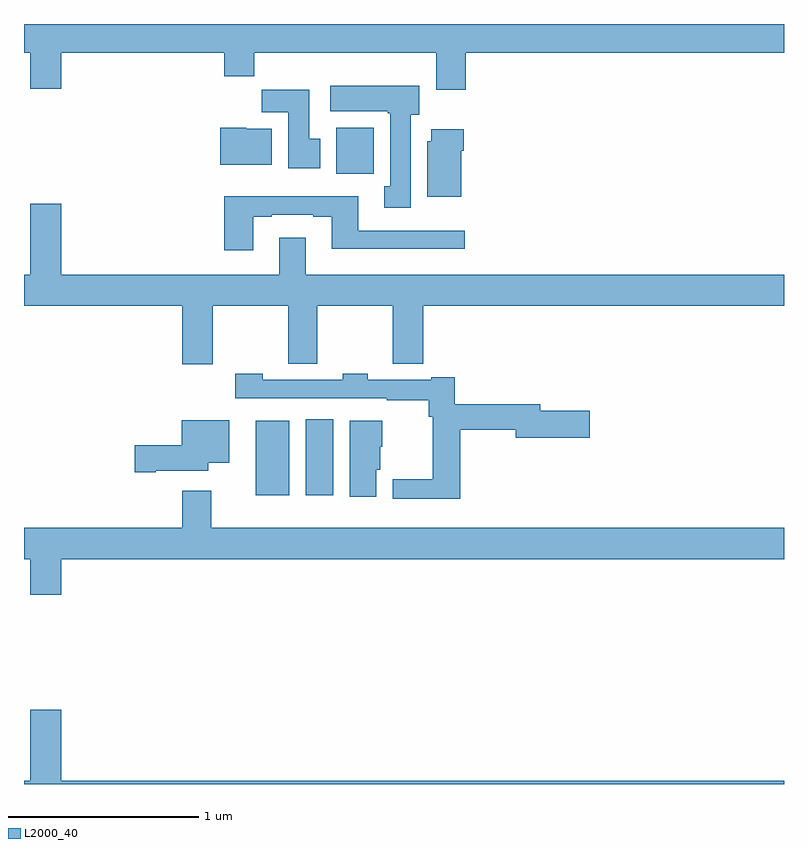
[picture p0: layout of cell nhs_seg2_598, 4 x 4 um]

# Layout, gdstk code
import gdstk
lib = gdstk.Library(unit=1e-6, precision=1e-09)
def R(c, l, rs):  # rectangles x0, y0, x1, y1
    for r in rs: c.add(gdstk.rectangle(r[:2], r[2:], *l))
def P(c, l, *ps):  # polygons
    for p in ps: c.add(gdstk.Polygon(p, *l))
L2000_40 = (2000, 40)

nhs_seg2_598 = lib.new_cell('nhs_seg2_598')
R(nhs_seg2_598, L2000_40, [(142.22,633.32,142.396,633.712), (142.484,633.32,142.627,633.721), (142.643,635.012,142.84,635.254)])
P(nhs_seg2_598, L2000_40, [(143.324,635.648),(145,635.648),(145,635.8),(141,635.8),(141,635.648),(141.032,635.648),(141.032,635.46),(141.196,635.46),(141.196,635.648),(142.055,635.648),(142.055,635.524),(142.211,635.524),(142.211,635.648),(143.171,635.648),(143.171,635.454),(143.324,635.454)],
  [(143.035,635.322),(143.08,635.322),(143.08,635.476),(142.611,635.476),(142.611,635.342),(142.915,635.342),(142.915,635.329),(142.928,635.329),(142.928,634.946),(142.895,634.946),(142.895,634.833),(143.035,634.833)],
  [(142.558,635.196),(142.501,635.196),(142.501,635.455),(142.252,635.455),(142.252,635.336),(142.391,635.336),(142.391,635.04),(142.558,635.04)],
  [(142.303,635.248),(142.17,635.248),(142.17,635.254),(142.034,635.254),(142.034,635.06),(142.303,635.06)],
  [(143.302,635.132),(143.315,635.132),(143.315,635.245),(143.144,635.245),(143.144,635.184),(143.123,635.184),(143.123,634.892),(143.302,634.892)],
  [(142.207,634.785),(142.303,634.785),(142.303,634.797),(142.523,634.797),(142.523,634.785),(142.619,634.785),(142.619,634.616),(143.32,634.616),(143.32,634.713),(142.759,634.713),(142.759,634.894),(142.055,634.894),(142.055,634.608),(142.207,634.608)],
  [(141.993,634.316),(142.39,634.316),(142.39,634.012),(142.544,634.012),(142.544,634.316),(142.942,634.316),(142.942,634.012),(143.102,634.012),(143.102,634.316),(145,634.316),(145,634.48),(142.483,634.48),(142.483,634.675),(142.343,634.675),(142.343,634.48),(141.196,634.48),(141.196,634.855),(141.032,634.855),(141.032,634.48),(141,634.48),(141,634.316),(141.833,634.316),(141.833,634.008),(141.993,634.008)],
  [(143.297,633.664),(143.588,633.664),(143.588,633.622),(143.977,633.622),(143.977,633.764),(143.716,633.764),(143.716,633.8),(143.267,633.8),(143.267,633.94),(143.144,633.94),(143.144,633.927),(142.809,633.927),(142.809,633.96),(142.677,633.96),(142.677,633.927),(142.257,633.927),(142.257,633.96),(142.113,633.96),(142.113,633.831),(142.909,633.831),(142.909,633.819),(143.131,633.819),(143.131,633.734),(143.15,633.734),(143.15,633.404),(142.941,633.404),(142.941,633.302),(143.297,633.302)],
  [(141.694,633.449),(141.97,633.449),(141.97,633.491),(142.081,633.491),(142.081,633.715),(141.83,633.715),(141.83,633.584),(141.582,633.584),(141.582,633.442),(141.694,633.442)],
  [(142.855,633.453),(142.876,633.453),(142.876,633.576),(142.885,633.576),(142.885,633.712),(142.715,633.712),(142.715,633.312),(142.855,633.312)],
  [(141.196,632.984),(145,632.984),(145,633.148),(141.985,633.148),(141.985,633.343),(141.833,633.343),(141.833,633.148),(141,633.148),(141,632.984),(141.032,632.984),(141.032,632.796),(141.196,632.796)],
  [(145,631.816),(141.196,631.816),(141.196,632.191),(141.032,632.191),(141.032,631.816),(141,631.816),(141,631.8),(145,631.8)])

lib.write_gds('nhs_seg2_598.gds')
